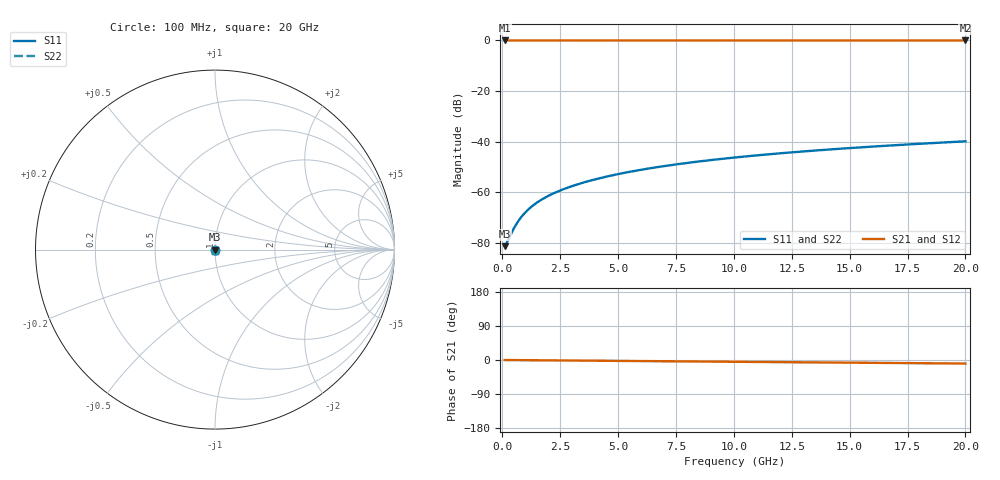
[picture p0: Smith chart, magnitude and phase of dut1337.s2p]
! Touchstone file exported from HFSS 2026.1.0
!  File:  C:/ffzhzh/LocalFiles/Ansys_Project_Files/temp_train_TSV_1337_1783195500_43440.aedt
!  Generated:  04:06:31 AM Jul  5, 2026
!  Design:  TSV
!  Project:  temp_train_TSV_1337_1783195500_43440
! Variables:
!  h_bsmrdl = 2um
!  h_ox = 20um
!  h_rdl = 5um
!  h_sub = 93.84um
!  h_tmrdl = 5um
!  h_tsv = 93.84um
!  h_via = 3um
!  l_bsmrdl = 300um
!  l_sub = 428.24um
!  l_tmrdl = 200um
!  m_sub = 200um
!  pitch = 53.06um
!  r_tsv = 14.12um
!  s_tmrdl = 10um
!  w_bsmrdl = 18um
!  w_sub = 500um
!  w_tmrdl = 12um
!  x_tsv_center1 = 206um
!  x_tsv_center2 = 524um
!  x_tsv_center3 = 736um
!  x_tsv_center4 = 1054um
!  x_tsv_center5 = 1266um
!  x_tsv_center6 = 1584um
# GHz S MA R 50.000000
! Terminal data exported
! Port[1] = TSV1_1_T1
! Port[2] = TSV1_1_T2
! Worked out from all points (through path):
!   200 points, 100 MHz to 20 GHz, reference 50 ohm
!   highest |S21| = 0.00 dB at 100 MHz (marker M1); lowest = 0.0 dB at 20 GHz (marker M2)
!   group delay of S21, straight-line fit = 1.29 ps
!   lowest |S11| = -81.2 dB at 100 MHz (marker M3), VSWR 1.00, Z = 50 - j0.000335 ohm
!   |S11| at or under -10 dB: start of sweep to end of sweep
!   |S22| runs from -81.2 to -39.8 dB; largest |S21 - S12| = 4.2e-15
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0.1  8.668e-05 -2.2  0.9999 -0.0  0.9999 -0.0  8.668e-05 -2.2
! Gamma 0 0 0 0
! Port Impedance 50 0 50 0
0.2  0.0001029 -6.2  0.9999 -0.1  0.9999 -0.1  0.0001029 -6.2
0.5  0.0001945 -24.2  0.9998 -0.2  0.9998 -0.2  0.0001945 -24.2
0.6  0.0002335 -29.8  0.9998 -0.3  0.9998 -0.3  0.0002335 -29.8
0.8  0.0003172 -39.3  0.9998 -0.4  0.9998 -0.4  0.0003172 -39.3
1  0.0004049 -46.5  0.9997 -0.5  0.9997 -0.5  0.0004049 -46.5
1.3  0.0005393 -54.3  0.9997 -0.6  0.9997 -0.6  0.0005393 -54.3
1.5  0.0006298 -58.1  0.9997 -0.7  0.9997 -0.7  0.0006298 -58.1
1.7  0.0007207 -61.2  0.9996 -0.8  0.9996 -0.8  0.0007207 -61.2
2.2  0.00095 -66.6  0.9996 -1.0  0.9996 -1.0  0.00095 -66.6
2.8  0.001229 -70.7  0.9996 -1.3  0.9996 -1.3  0.001229 -70.7
3.5  0.001562 -73.8  0.9995 -1.6  0.9995 -1.6  0.001562 -73.8
4.2  0.001901 -76.0  0.9995 -2.0  0.9995 -2.0  0.001901 -76.0
5  0.002296 -77.9  0.9994 -2.3  0.9994 -2.3  0.002296 -77.9
5.9  0.002748 -79.6  0.9994 -2.8  0.9994 -2.8  0.002748 -79.6
6.8  0.003206 -81.0  0.9993 -3.2  0.9993 -3.2  0.003206 -81.0
8.3  0.003979 -83.1  0.9992 -3.9  0.9992 -3.9  0.003979 -83.1
10.1  0.004916 -85.1  0.9992 -4.7  0.9992 -4.7  0.004916 -85.1
11.7  0.005754 -86.7  0.9991 -5.5  0.9991 -5.5  0.005754 -86.7
13.4  0.00665 -88.1  0.999 -6.3  0.999 -6.3  0.00665 -88.1
16.7  0.008406 -90.6  0.9989 -7.8  0.9989 -7.8  0.008406 -90.6
20  0.01019 -92.8  0.9988 -9.3  0.9988 -9.3  0.01019 -92.8
